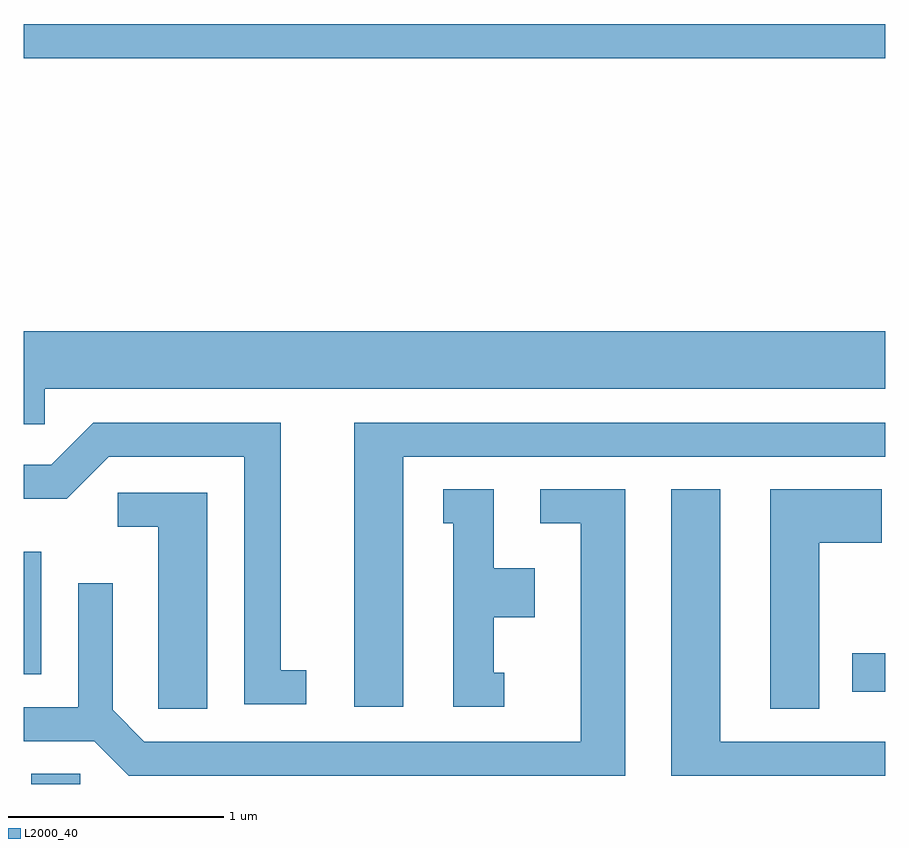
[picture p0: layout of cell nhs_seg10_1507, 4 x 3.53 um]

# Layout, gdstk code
import gdstk
lib = gdstk.Library(unit=1e-6, precision=1e-09)
def R(c, l, rs):  # rectangles x0, y0, x1, y1
    for r in rs: c.add(gdstk.rectangle(r[:2], r[2:], *l))
def P(c, l, *ps):  # polygons
    for p in ps: c.add(gdstk.Polygon(p, *l))
L2000_40 = (2000, 40)

nhs_seg10_1507 = lib.new_cell('nhs_seg10_1507')
R(nhs_seg10_1507, L2000_40, [(229.646,2116.522,229.874,2116.569), (233.456,2116.951,233.611,2117.129), (229.611,2117.031,229.694,2117.599), (229.611,2119.891,233.611,2120.049)])
P(nhs_seg10_1507, L2000_40, [(229.709,2118.356),(233.611,2118.356),(233.611,2118.624),(229.611,2118.624),(229.611,2118.191),(229.709,2118.191)],
  [(231.374,2118.041),(233.611,2118.041),(233.611,2118.199),(231.146,2118.199),(231.146,2116.881),(231.374,2116.881)],
  [(230.923,2117.049),(230.804,2117.049),(230.804,2118.199),(229.934,2118.199),(229.739,2118.004),(229.611,2118.004),(229.611,2117.846),(229.812,2117.846),(230.007,2118.041),(230.636,2118.041),(230.636,2116.891),(230.923,2116.891)],
  [(233.611,2116.719),(232.844,2116.719),(232.844,2117.889),(232.616,2117.889),(232.616,2116.561),(233.611,2116.561)],
  [(231.843,2117.039),(231.794,2117.039),(231.794,2117.296),(231.984,2117.296),(231.984,2117.524),(231.794,2117.524),(231.794,2117.889),(231.558,2117.889),(231.558,2117.731),(231.606,2117.731),(231.606,2116.881),(231.843,2116.881)],
  [(232.404,2117.889),(232.008,2117.889),(232.008,2117.731),(232.196,2117.731),(232.196,2116.719),(230.172,2116.719),(230.024,2116.867),(230.024,2117.453),(229.866,2117.453),(229.866,2116.879),(229.611,2116.879),(229.611,2116.721),(229.939,2116.721),(230.099,2116.561),(232.404,2116.561)],
  [(233.304,2117.641),(233.594,2117.641),(233.594,2117.889),(233.076,2117.889),(233.076,2116.871),(233.304,2116.871)],
  [(230.464,2117.874),(230.048,2117.874),(230.048,2117.716),(230.236,2117.716),(230.236,2116.871),(230.464,2116.871)])

lib.write_gds('nhs_seg10_1507.gds')
